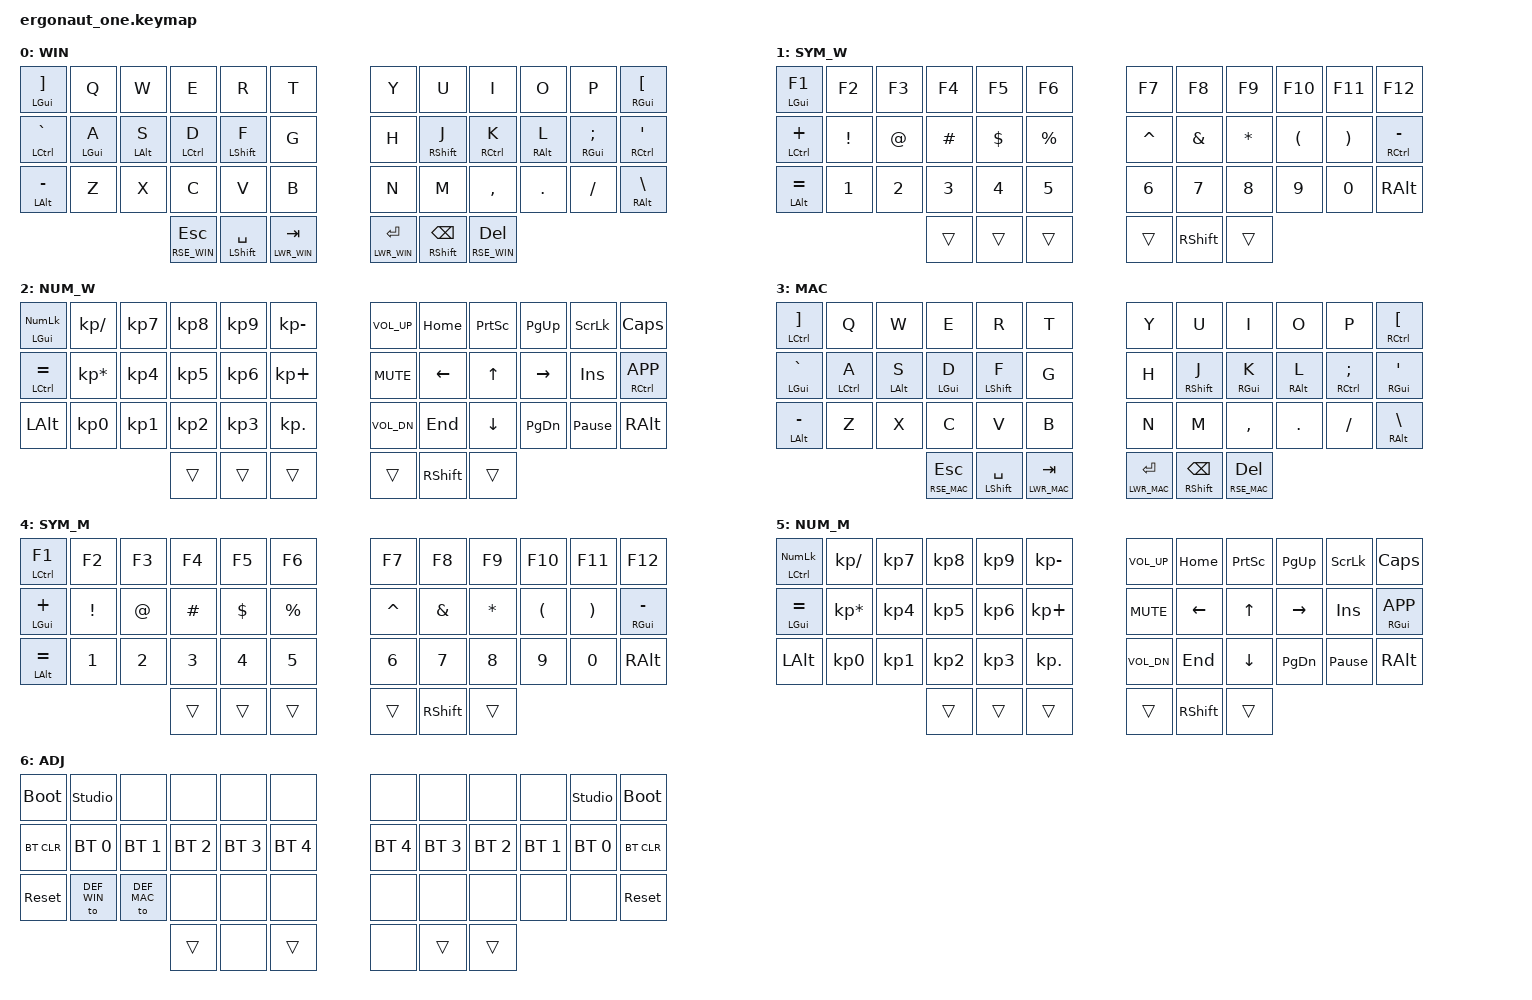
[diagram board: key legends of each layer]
#include <behaviors.dtsi>
#include <dt-bindings/zmk/keys.h>
#include <dt-bindings/zmk/bt.h>

// Windows layers
#define DEF_WIN 0
#define LWR_WIN 1
#define RSE_WIN 2

// macOS layers  
#define DEF_MAC 3
#define LWR_MAC 4
#define RSE_MAC 5

// Shared adjust layer
#define ADJ 6

&lt {
    quick-tap-ms = <200>;
};

&mt {
    flavor = "tap-preferred";
    tapping-term-ms = <280>;
    quick-tap-ms = <200>;
    require-prior-idle-ms = <150>;
};

/ {
    conditional_layers {
        compatible = "zmk,conditional-layers";

        tri-layer-win {
            if-layers = <LWR_WIN RSE_WIN>;
            then-layer = <ADJ>;
        };
        
        tri-layer-mac {
            if-layers = <LWR_MAC RSE_MAC>;
            then-layer = <ADJ>;
        };
    };

    keymap {
        compatible = "zmk,keymap";

        // === WINDOWS LAYERS ===
        
        default_layer_win {
            display-name = "WIN";
            bindings = <
                &mt LGUI RBKT     &kp Q   &kp W   &kp E             &kp R             &kp T                     &kp Y             &kp U            &kp I         &kp O        &kp P           &mt RGUI LBKT       
                &mt LCTRL GRAVE   &mt LGUI A      &mt LALT S    &mt LCTRL D       &mt LSHFT F   &kp G         &kp H             &mt RSHFT J      &mt RCTRL K   &mt RALT L   &mt RGUI SEMI   &mt RCTRL SQT
                &mt LALT MINUS    &kp Z   &kp X   &kp C         &kp V             &kp B         &kp N         &kp M             &kp COMMA        &kp DOT       &kp FSLH     &mt RALT BSLH
                                                  &lt RSE_WIN ESC   &mt LSHFT SPACE   &lt LWR_WIN TAB           &lt LWR_WIN RET   &mt RSHFT BSPC   &lt RSE_WIN DEL
            >;
        };
        
        lower_layer_win {
            display-name = "SYM_W";
            bindings = <
                &mt LGUI F1      &kp F2     &kp F3   &kp F4        &kp F5     &kp F6      &kp F7      &kp F8      &kp F9        &kp F10    &kp F11    &kp F12           
                &mt LCTRL PLUS   &kp EXCL   &kp AT   &kp HASH      &kp DLLR   &kp PRCNT   &kp CARET   &kp AMPS    &kp STAR      &kp LPAR   &kp RPAR   &mt RCTRL MINUS
                &mt LALT EQUAL   &kp N1     &kp N2   &kp N3        &kp N4     &kp N5      &kp N6      &kp N7      &kp N8        &kp N9     &kp N0     &kp RALT
                                                     &trans        &trans     &trans      &trans      &kp RSHFT   &trans
            >;
        };

        raise_layer_win {
            display-name = "NUM_W";
            bindings = <
                &mt LGUI KP_NUM   &kp KP_SLASH      &kp KP_N7   &kp KP_N8   &kp KP_N9   &kp KP_MINUS   &kp C_VOL_UP   &kp HOME    &kp PSCRN   &kp PG_UP   &kp SLCK          &kp CLCK
                &mt LCTRL EQUAL   &kp KP_MULTIPLY   &kp KP_N4   &kp KP_N5   &kp KP_N6   &kp KP_PLUS    &kp C_MUTE     &kp LEFT    &kp UP      &kp RIGHT   &kp INS           &mt RCTRL  K_APP
                &kp LALT          &kp KP_N0         &kp KP_N1   &kp KP_N2   &kp KP_N3   &kp KP_DOT     &kp C_VOL_DN   &kp END     &kp DOWN    &kp PG_DN   &kp PAUSE_BREAK   &kp RALT
                                                                &trans      &trans      &trans         &trans         &kp RSHFT   &trans
            >;
        };
        
        // === MACOS LAYERS (GUI ↔ CTRL SWAPPED) ===
        
        default_layer_mac {
            display-name = "MAC";
            bindings = <
                &mt LCTRL RBKT    &kp Q   &kp W   &kp E             &kp R             &kp T                     &kp Y             &kp U            &kp I         &kp O        &kp P           &mt RCTRL LBKT       
                &mt LGUI GRAVE    &mt LCTRL A     &mt LALT S    &mt LGUI D        &mt LSHFT F   &kp G         &kp H             &mt RSHFT J      &mt RGUI K    &mt RALT L   &mt RCTRL SEMI  &mt RGUI SQT
                &mt LALT MINUS    &kp Z   &kp X   &kp C         &kp V             &kp B         &kp N         &kp M             &kp COMMA        &kp DOT       &kp FSLH     &mt RALT BSLH
                                                  &lt RSE_MAC ESC   &mt LSHFT SPACE   &lt LWR_MAC TAB           &lt LWR_MAC RET   &mt RSHFT BSPC   &lt RSE_MAC DEL
            >;
        };
        
        lower_layer_mac {
            display-name = "SYM_M";
            bindings = <
                &mt LCTRL F1     &kp F2     &kp F3   &kp F4        &kp F5     &kp F6      &kp F7      &kp F8      &kp F9        &kp F10    &kp F11    &kp F12           
                &mt LGUI PLUS    &kp EXCL   &kp AT   &kp HASH      &kp DLLR   &kp PRCNT   &kp CARET   &kp AMPS    &kp STAR      &kp LPAR   &kp RPAR   &mt RGUI MINUS
                &mt LALT EQUAL   &kp N1     &kp N2   &kp N3        &kp N4     &kp N5      &kp N6      &kp N7      &kp N8        &kp N9     &kp N0     &kp RALT
                                                     &trans        &trans     &trans      &trans      &kp RSHFT   &trans
            >;
        };

        raise_layer_mac {
            display-name = "NUM_M";
            bindings = <
                &mt LCTRL KP_NUM  &kp KP_SLASH      &kp KP_N7   &kp KP_N8   &kp KP_N9   &kp KP_MINUS   &kp C_VOL_UP   &kp HOME    &kp PSCRN   &kp PG_UP   &kp SLCK          &kp CLCK
                &mt LGUI EQUAL    &kp KP_MULTIPLY   &kp KP_N4   &kp KP_N5   &kp KP_N6   &kp KP_PLUS    &kp C_MUTE     &kp LEFT    &kp UP      &kp RIGHT   &kp INS           &mt RGUI K_APP
                &kp LALT          &kp KP_N0         &kp KP_N1   &kp KP_N2   &kp KP_N3   &kp KP_DOT     &kp C_VOL_DN   &kp END     &kp DOWN    &kp PG_DN   &kp PAUSE_BREAK   &kp RALT
                                                                &trans      &trans      &trans         &trans         &kp RSHFT   &trans
            >;
        };
        
        // === ADJUST LAYER (SHARED) ===
        
        adjust_layer {
            display-name = "ADJ";
            bindings = <
                &bootloader      &studio_unlock   &none          &none            &none          &none          &none          &none          &none          &none          &studio_unlock   &bootloader
                &bt BT_CLR       &bt BT_SEL 0     &bt BT_SEL 1   &bt BT_SEL 2     &bt BT_SEL 3   &bt BT_SEL 4   &bt BT_SEL 4   &bt BT_SEL 3   &bt BT_SEL 2   &bt BT_SEL 1   &bt BT_SEL 0     &bt BT_CLR
                &sys_reset       &to DEF_WIN      &to DEF_MAC    &none            &none          &none          &none          &none          &none          &none          &none            &sys_reset
                                                                 &trans           &none          &trans         &none          &trans         &trans
            >;
        };
    };
};
